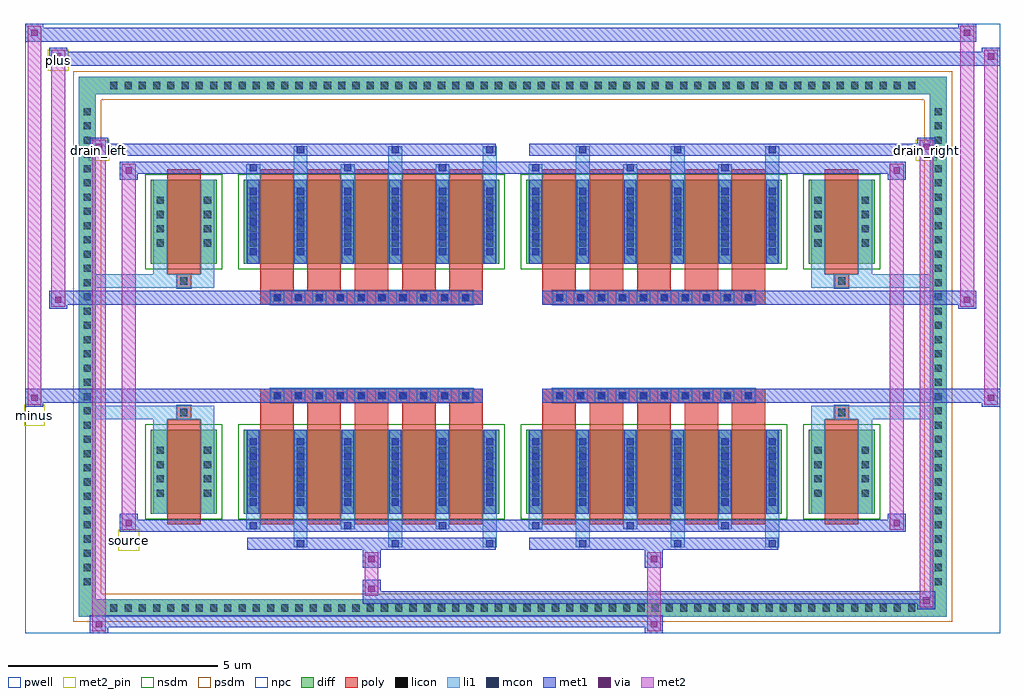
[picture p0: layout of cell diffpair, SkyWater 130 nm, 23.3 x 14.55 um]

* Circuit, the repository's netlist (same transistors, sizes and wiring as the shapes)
* NGSPICE file created from diffpair.ext - technology: sky130A

.subckt diffpair minus drain_right drain_left source plus
X0 source minus drain_right a_n2072_n1288# sky130_fd_pr__nfet_01v8 ad=0.33 pd=2.33 as=0.33 ps=2.33 w=2 l=0.8
X1 a_n2072_n1288# a_n2072_n1288# a_n2072_n1288# a_n2072_n1288# sky130_fd_pr__nfet_01v8 ad=0.78 pd=4.78 as=6.24 ps=38.24 w=2 l=0.8
X2 source minus drain_right a_n2072_n1288# sky130_fd_pr__nfet_01v8 ad=0.33 pd=2.33 as=0.33 ps=2.33 w=2 l=0.8
X3 source plus drain_left a_n2072_n1288# sky130_fd_pr__nfet_01v8 ad=0.33 pd=2.33 as=0.33 ps=2.33 w=2 l=0.8
X4 source plus drain_left a_n2072_n1288# sky130_fd_pr__nfet_01v8 ad=0.33 pd=2.33 as=0.33 ps=2.33 w=2 l=0.8
X5 a_n2072_n1288# a_n2072_n1288# a_n2072_n1288# a_n2072_n1288# sky130_fd_pr__nfet_01v8 ad=0.78 pd=4.78 as=0 ps=0 w=2 l=0.8
X6 a_n2072_n1288# a_n2072_n1288# a_n2072_n1288# a_n2072_n1288# sky130_fd_pr__nfet_01v8 ad=0.78 pd=4.78 as=0 ps=0 w=2 l=0.8
X7 drain_right minus source a_n2072_n1288# sky130_fd_pr__nfet_01v8 ad=0.33 pd=2.33 as=0.33 ps=2.33 w=2 l=0.8
X8 source minus drain_right a_n2072_n1288# sky130_fd_pr__nfet_01v8 ad=0.33 pd=2.33 as=0.33 ps=2.33 w=2 l=0.8
X9 drain_right minus source a_n2072_n1288# sky130_fd_pr__nfet_01v8 ad=0.33 pd=2.33 as=0.78 ps=4.78 w=2 l=0.8
X10 drain_right minus source a_n2072_n1288# sky130_fd_pr__nfet_01v8 ad=0.33 pd=2.33 as=0.78 ps=4.78 w=2 l=0.8
X11 drain_left plus source a_n2072_n1288# sky130_fd_pr__nfet_01v8 ad=0.78 pd=4.78 as=0.33 ps=2.33 w=2 l=0.8
X12 source minus drain_right a_n2072_n1288# sky130_fd_pr__nfet_01v8 ad=0.33 pd=2.33 as=0.33 ps=2.33 w=2 l=0.8
X13 drain_right minus source a_n2072_n1288# sky130_fd_pr__nfet_01v8 ad=0.78 pd=4.78 as=0.33 ps=2.33 w=2 l=0.8
X14 a_n2072_n1288# a_n2072_n1288# a_n2072_n1288# a_n2072_n1288# sky130_fd_pr__nfet_01v8 ad=0.78 pd=4.78 as=0 ps=0 w=2 l=0.8
X15 source plus drain_left a_n2072_n1288# sky130_fd_pr__nfet_01v8 ad=0.33 pd=2.33 as=0.33 ps=2.33 w=2 l=0.8
X16 drain_right minus source a_n2072_n1288# sky130_fd_pr__nfet_01v8 ad=0.78 pd=4.78 as=0.33 ps=2.33 w=2 l=0.8
X17 drain_left plus source a_n2072_n1288# sky130_fd_pr__nfet_01v8 ad=0.33 pd=2.33 as=0.33 ps=2.33 w=2 l=0.8
X18 drain_right minus source a_n2072_n1288# sky130_fd_pr__nfet_01v8 ad=0.33 pd=2.33 as=0.33 ps=2.33 w=2 l=0.8
X19 drain_left plus source a_n2072_n1288# sky130_fd_pr__nfet_01v8 ad=0.33 pd=2.33 as=0.78 ps=4.78 w=2 l=0.8
X20 source plus drain_left a_n2072_n1288# sky130_fd_pr__nfet_01v8 ad=0.33 pd=2.33 as=0.33 ps=2.33 w=2 l=0.8
X21 drain_left plus source a_n2072_n1288# sky130_fd_pr__nfet_01v8 ad=0.33 pd=2.33 as=0.78 ps=4.78 w=2 l=0.8
X22 drain_left plus source a_n2072_n1288# sky130_fd_pr__nfet_01v8 ad=0.78 pd=4.78 as=0.33 ps=2.33 w=2 l=0.8
X23 drain_left plus source a_n2072_n1288# sky130_fd_pr__nfet_01v8 ad=0.33 pd=2.33 as=0.33 ps=2.33 w=2 l=0.8
.ends

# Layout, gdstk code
import gdstk
lib = gdstk.Library(unit=1e-6, precision=5e-09)
def R(c, l, rs):  # rectangles x0, y0, x1, y1
    for r in rs: c.add(gdstk.rectangle(r[:2], r[2:], *l))
def A(c, l, x, y, w, h, nx, ny, dx, dy):  # array of equal rectangles
    R(c, l, [(x+i*dx, y+j*dy, x+i*dx+w, y+j*dy+h) for i in range(nx) for j in range(ny)])
def P(c, l, *ps):  # polygons
    for p in ps: c.add(gdstk.Polygon(p, *l))
pwell = (64, 44)
diff = (65, 20)
poly = (66, 20)
licon = (66, 44)
li1 = (67, 20)
mcon = (67, 44)
met1 = (68, 20)
via = (68, 44)
met2_pin = (69, 16)
met2 = (69, 20)
nsdm = (93, 44)
psdm = (94, 20)
npc = (95, 20)

diffpair = lib.new_cell('diffpair')
R(diffpair, pwell, [(-11.63,-6.84,11.63,7.71), (-8.95,-5.03,-0.01,-0.805), (0.01,-5.03,8.95,-0.805), (-8.95,0.805,-0.01,5.03), (0.01,0.805,8.95,5.03)])
A(diffpair, diff, -9.725, -6.44, 0.41, 0.41, 57, 2, 0.34, 12.47)
A(diffpair, diff, -10.36, -5.815, 0.41, 0.41, 1, 34, 0, 0.34)
A(diffpair, diff, 9.95, -5.815, 0.41, 0.41, 1, 34, 0, 0.34)
R(diffpair, diff, [(-9.725,-6.44,9.725,-6.03), (-10.36,-5.815,-9.95,5.815), (9.95,-5.815,10.36,5.815), (-8.64,-3.985,-7.06,-1.985), (-6.42,-3.985,-0.32,-1.985), (0.32,-3.985,6.42,-1.985), (7.06,-3.985,8.64,-1.985), (-8.64,1.985,-7.06,3.985), (-6.42,1.985,-0.32,3.985), (0.32,1.985,6.42,3.985), (7.06,1.985,8.64,3.985), (-9.725,6.03,9.725,6.44)])
P(diffpair, diff, [(10.36,6.44),(-10.36,6.44),(-10.36,-6.03),(-9.95,-6.03),(-9.95,6.03),(9.95,6.03),(9.95,-6.03),(-9.95,-6.03),(-10.36,-6.03),(-10.36,-6.44),(10.36,-6.44)])
A(diffpair, poly, -6.03, -4.235, 0.8, 2.5, 5, 2, 1.13, 5.97)
A(diffpair, poly, 0.71, -4.235, 0.8, 2.5, 5, 2, 1.13, 5.97)
A(diffpair, poly, -6.03, -1.735, 0.8, 0.4, 5, 2, 1.13, 3.07)
A(diffpair, poly, 0.71, -1.735, 0.8, 0.4, 5, 2, 1.13, 3.07)
A(diffpair, poly, -5.785, -1.335, 0.33, 0.33, 10, 2, 0.5, 2.34)
A(diffpair, poly, 0.955, -1.335, 0.33, 0.33, 10, 2, 0.5, 2.34)
R(diffpair, poly, [(-8.25,-4.235,-7.45,-1.735), (7.45,-4.235,8.25,-1.735), (-8.015,-1.735,-7.685,-1.405), (-8.015,-1.735,-7.685,-1.405), (7.685,-1.735,8.015,-1.405), (7.685,-1.735,8.015,-1.405), (-6.03,-1.335,-0.71,-1.005), (0.71,-1.335,6.03,-1.005), (-6.03,1.005,-0.71,1.335), (0.71,1.005,6.03,1.335), (-8.015,1.405,-7.685,1.735), (-8.015,1.405,-7.685,1.735), (7.685,1.405,8.015,1.735), (7.685,1.405,8.015,1.735), (-8.25,1.735,-7.45,4.235), (7.45,1.735,8.25,4.235)])
A(diffpair, licon, -9.605, -6.32, 0.17, 0.17, 57, 2, 0.34, 12.47)
A(diffpair, licon, -10.24, -5.695, 0.17, 0.17, 1, 34, 0, 0.34)
A(diffpair, licon, 10.07, -5.695, 0.17, 0.17, 1, 34, 0, 0.34)
A(diffpair, licon, -8.5, -3.58, 0.17, 0.17, 1, 4, 0, 0.34)
A(diffpair, licon, -7.37, -3.58, 0.17, 0.17, 1, 4, 0, 0.34)
A(diffpair, licon, -6.28, -3.58, 0.17, 0.17, 6, 4, 1.13, 0.34)
A(diffpair, licon, 0.46, -3.58, 0.17, 0.17, 6, 4, 1.13, 0.34)
A(diffpair, licon, 7.2, -3.58, 0.17, 0.17, 1, 4, 0, 0.34)
A(diffpair, licon, 8.33, -3.58, 0.17, 0.17, 1, 4, 0, 0.34)
A(diffpair, licon, -5.705, -1.255, 0.17, 0.17, 10, 2, 0.5, 2.34)
A(diffpair, licon, 1.035, -1.255, 0.17, 0.17, 10, 2, 0.5, 2.34)
A(diffpair, licon, -8.5, 2.39, 0.17, 0.17, 1, 4, 0, 0.34)
A(diffpair, licon, -7.37, 2.39, 0.17, 0.17, 1, 4, 0, 0.34)
A(diffpair, licon, -6.28, 2.39, 0.17, 0.17, 6, 4, 1.13, 0.34)
A(diffpair, licon, 0.46, 2.39, 0.17, 0.17, 6, 4, 1.13, 0.34)
A(diffpair, licon, 7.2, 2.39, 0.17, 0.17, 1, 4, 0, 0.34)
A(diffpair, licon, 8.33, 2.39, 0.17, 0.17, 1, 4, 0, 0.34)
R(diffpair, licon, [(-7.935,-1.655,-7.765,-1.485), (7.765,-1.655,7.935,-1.485), (-7.935,1.485,-7.765,1.655), (7.765,1.485,7.935,1.655)])
A(diffpair, li1, -9.685, -6.4, 0.33, 0.33, 57, 2, 0.34, 12.47)
A(diffpair, li1, -10.32, -5.775, 0.33, 0.33, 1, 34, 0, 0.34)
A(diffpair, li1, 9.99, -5.775, 0.33, 0.33, 1, 34, 0, 0.34)
A(diffpair, li1, -5.23, -4.79, 0.33, 0.805, 3, 2, 2.26, 8.775)
A(diffpair, li1, -5.15, -4.79, 0.17, 0.17, 3, 2, 2.26, 9.41)
A(diffpair, li1, 1.51, -4.79, 0.33, 0.805, 3, 2, 2.26, 8.775)
A(diffpair, li1, 1.59, -4.79, 0.17, 0.17, 3, 2, 2.26, 9.41)
A(diffpair, li1, -6.36, -4.36, 0.33, 0.375, 3, 2, 2.26, 8.345)
A(diffpair, li1, -6.28, -4.36, 0.17, 0.17, 3, 2, 2.26, 8.55)
A(diffpair, li1, 0.38, -4.36, 0.33, 0.375, 3, 2, 2.26, 8.345)
A(diffpair, li1, 0.46, -4.36, 0.17, 0.17, 3, 2, 2.26, 8.55)
A(diffpair, li1, -6.36, -3.985, 0.33, 2, 6, 2, 1.13, 5.97)
A(diffpair, li1, 0.38, -3.985, 0.33, 2, 6, 2, 1.13, 5.97)
A(diffpair, li1, -6.28, -3.79, 0.17, 0.17, 6, 5, 1.13, 0.36)
A(diffpair, li1, -6.28, -3.79, 0.17, 1.61, 6, 2, 1.13, 5.97)
A(diffpair, li1, 0.46, -3.79, 0.17, 0.17, 6, 5, 1.13, 0.36)
A(diffpair, li1, 0.46, -3.79, 0.17, 1.61, 6, 2, 1.13, 5.97)
A(diffpair, li1, -8.58, -3.66, 0.33, 0.33, 1, 4, 0, 0.34)
A(diffpair, li1, -7.45, -3.66, 0.33, 0.33, 1, 4, 0, 0.34)
A(diffpair, li1, -6.36, -3.66, 0.33, 0.33, 6, 4, 1.13, 0.34)
A(diffpair, li1, 0.38, -3.66, 0.33, 0.33, 6, 4, 1.13, 0.34)
A(diffpair, li1, 7.12, -3.66, 0.33, 0.33, 1, 4, 0, 0.34)
A(diffpair, li1, 8.25, -3.66, 0.33, 0.33, 1, 4, 0, 0.34)
A(diffpair, li1, -5.785, -1.335, 0.33, 0.33, 10, 2, 0.5, 2.34)
A(diffpair, li1, 0.955, -1.335, 0.33, 0.33, 10, 2, 0.5, 2.34)
A(diffpair, li1, -6.28, 2.18, 0.17, 0.17, 6, 5, 1.13, 0.36)
A(diffpair, li1, 0.46, 2.18, 0.17, 0.17, 6, 5, 1.13, 0.36)
A(diffpair, li1, -8.58, 2.31, 0.33, 0.33, 1, 4, 0, 0.34)
A(diffpair, li1, -7.45, 2.31, 0.33, 0.33, 1, 4, 0, 0.34)
A(diffpair, li1, -6.36, 2.31, 0.33, 0.33, 6, 4, 1.13, 0.34)
A(diffpair, li1, 0.38, 2.31, 0.33, 0.33, 6, 4, 1.13, 0.34)
A(diffpair, li1, 7.12, 2.31, 0.33, 0.33, 1, 4, 0, 0.34)
A(diffpair, li1, 8.25, 2.31, 0.33, 0.33, 1, 4, 0, 0.34)
R(diffpair, li1, [(-10.36,-6.44,-9.95,-6.03), (-10.36,-6.44,-9.95,-6.03), (-9.95,-6.44,9.95,-6.03), (9.95,-6.44,10.36,-6.03), (9.95,-6.44,10.36,-6.03), (-10.36,-6.03,-9.95,6.03), (9.95,-6.03,10.36,6.03), (-8.58,-3.985,-8.25,-1.985), (-7.45,-3.985,-7.12,-1.985), (7.12,-3.985,7.45,-1.985), (8.25,-3.985,8.58,-1.985), (-8.58,-1.985,-8.25,-1.405), (-7.45,-1.985,-7.12,-1.405), (7.12,-1.985,7.45,-1.405), (8.25,-1.985,8.58,-1.405), (-10.36,-1.735,-8.015,-1.405), (-8.58,-1.735,-8.015,-1.405), (-8.015,-1.735,-7.685,-1.405), (-7.685,-1.735,-7.12,-1.405), (7.12,-1.735,7.685,-1.405), (7.685,-1.735,8.015,-1.405), (7.685,-1.735,10.36,-1.405), (8.015,-1.735,8.58,-1.405), (-10.36,1.405,-8.015,1.735), (-8.58,1.405,-8.015,1.735), (-8.58,1.405,-8.25,1.985), (-8.015,1.405,-7.685,1.735), (-7.685,1.405,-7.12,1.735), (-7.45,1.405,-7.12,1.985), (7.12,1.405,7.685,1.735), (7.12,1.405,7.45,1.985), (7.685,1.405,8.015,1.735), (7.685,1.405,10.36,1.735), (8.015,1.405,8.58,1.735), (8.25,1.405,8.58,1.985), (-8.58,1.985,-8.25,3.985), (-7.45,1.985,-7.12,3.985), (7.12,1.985,7.45,3.985), (8.25,1.985,8.58,3.985), (-10.36,6.03,-9.95,6.44), (-10.36,6.03,-9.95,6.44), (-9.95,6.03,9.95,6.44), (9.95,6.03,10.36,6.44), (9.95,6.03,10.36,6.44)])
A(diffpair, mcon, -5.15, -4.79, 0.17, 0.17, 3, 2, 2.26, 9.41)
A(diffpair, mcon, 1.59, -4.79, 0.17, 0.17, 3, 2, 2.26, 9.41)
A(diffpair, mcon, -6.28, -4.36, 0.17, 0.17, 3, 2, 2.26, 8.55)
A(diffpair, mcon, 0.46, -4.36, 0.17, 0.17, 3, 2, 2.26, 8.55)
A(diffpair, mcon, -6.28, -3.79, 0.17, 0.17, 6, 5, 1.13, 0.36)
A(diffpair, mcon, 0.46, -3.79, 0.17, 0.17, 6, 5, 1.13, 0.36)
A(diffpair, mcon, -5.705, -1.255, 0.17, 0.17, 10, 2, 0.5, 2.34)
A(diffpair, mcon, 1.035, -1.255, 0.17, 0.17, 10, 2, 0.5, 2.34)
A(diffpair, mcon, -6.28, 2.18, 0.17, 0.17, 6, 5, 1.13, 0.36)
A(diffpair, mcon, 0.46, 2.18, 0.17, 0.17, 6, 5, 1.13, 0.36)
A(diffpair, met1, -5.21, -4.85, 0.29, 0.29, 3, 2, 2.26, 9.41)
A(diffpair, met1, 1.53, -4.85, 0.29, 0.29, 3, 2, 2.26, 9.41)
A(diffpair, met1, -6.34, -4.42, 0.29, 0.29, 3, 2, 2.26, 8.55)
A(diffpair, met1, 0.4, -4.42, 0.29, 0.29, 3, 2, 2.26, 8.55)
A(diffpair, met1, -6.34, -3.985, 0.29, 2, 6, 2, 1.13, 5.97)
A(diffpair, met1, 0.4, -3.985, 0.29, 2, 6, 2, 1.13, 5.97)
A(diffpair, met1, -6.34, -3.85, 0.29, 0.29, 6, 5, 1.13, 0.36)
A(diffpair, met1, 0.4, -3.85, 0.29, 0.29, 6, 5, 1.13, 0.36)
A(diffpair, met1, -5.765, -1.315, 0.29, 0.29, 10, 2, 0.5, 2.34)
A(diffpair, met1, 0.975, -1.315, 0.29, 0.29, 10, 2, 0.5, 2.34)
A(diffpair, met1, -6.34, 2.12, 0.29, 0.29, 6, 5, 1.13, 0.36)
A(diffpair, met1, 0.4, 2.12, 0.29, 0.29, 6, 5, 1.13, 0.36)
R(diffpair, met1, [(-10.09,-6.84,-9.66,-6.41), (3.155,-6.84,3.585,-6.41), (-10.09,-6.7,3.585,-6.41), (9.66,-6.27,10.09,-5.84), (-3.585,-6.13,10.09,-5.84), (-3.585,-5.99,-3.155,-5.56), (-3.585,-5.28,-3.155,-4.85), (3.155,-5.28,3.585,-4.85), (-6.34,-4.85,-0.4,-4.56), (0.4,-4.85,6.34,-4.56), (-9.38,-4.42,-8.95,-3.99), (-9.38,-4.42,-6.34,-4.13), (-6.34,-4.42,-0.4,-4.13), (-0.4,-4.42,0.4,-4.13), (0.4,-4.42,6.34,-4.13), (6.34,-4.42,9.38,-4.13), (8.95,-4.42,9.38,-3.99), (-11.63,-1.435,-11.2,-1.005), (11.2,-1.435,11.63,-1.005), (-11.63,-1.335,-0.71,-1.005), (-6.03,-1.335,-0.71,-1.005), (0.71,-1.335,6.03,-1.005), (0.71,-1.335,11.63,-1.005), (-11.06,0.905,-10.63,1.335), (10.63,0.905,11.06,1.335), (-11.06,1.005,-6.03,1.335), (-6.03,1.005,-0.71,1.335), (0.71,1.005,6.03,1.335), (6.03,1.005,11.06,1.335), (-9.38,3.99,-8.95,4.42), (8.95,3.99,9.38,4.42), (-9.38,4.13,-6.34,4.42), (-6.34,4.13,-0.4,4.42), (-0.4,4.13,0.4,4.42), (0.4,4.13,6.34,4.42), (6.34,4.13,9.38,4.42), (-10.09,4.56,-9.66,4.99), (-10.09,4.56,-6.34,4.85), (-6.34,4.56,-0.4,4.85), (0.4,4.56,6.34,4.85), (6.34,4.56,10.09,4.85), (9.66,4.56,10.09,4.99), (-11.06,6.71,-10.63,7.14), (-11.06,6.71,-8.95,7.04), (-8.95,6.71,8.95,7.04), (8.95,6.71,11.63,7.04), (11.2,6.71,11.63,7.14), (-11.63,7.28,-11.2,7.71), (-11.63,7.28,-8.95,7.61), (-8.95,7.28,8.95,7.61), (8.95,7.28,11.06,7.61), (10.63,7.28,11.06,7.71)])
R(diffpair, via, [(-9.95,-6.7,-9.8,-6.55), (3.295,-6.7,3.445,-6.55), (9.8,-6.13,9.95,-5.98), (-3.445,-5.85,-3.295,-5.7), (-3.445,-5.14,-3.295,-4.99), (3.295,-5.14,3.445,-4.99), (-9.24,-4.28,-9.09,-4.13), (9.09,-4.28,9.24,-4.13), (-11.49,-1.295,-11.34,-1.145), (11.34,-1.295,11.49,-1.145), (-10.92,1.045,-10.77,1.195), (10.77,1.045,10.92,1.195), (-9.24,4.13,-9.09,4.28), (9.09,4.13,9.24,4.28), (-9.95,4.7,-9.8,4.85), (9.8,4.7,9.95,4.85), (-10.92,6.85,-10.77,7), (11.34,6.85,11.49,7), (-11.49,7.42,-11.34,7.57), (10.77,7.42,10.92,7.57)])
R(diffpair, met2_pin, [(-9.415,-4.87,-8.915,-4.37), (-11.665,-1.885,-11.165,-1.385), (-10.125,4.44,-9.625,4.94), (9.625,4.44,10.125,4.94), (-11.095,6.59,-10.595,7.09)])
R(diffpair, met2, [(-10.04,-6.79,-9.71,-6.46), (-10.04,-6.79,-9.71,4.94), (3.205,-6.79,3.535,-6.46), (3.205,-6.46,3.535,-5.23), (9.71,-6.22,10.04,-5.89), (9.71,-6.22,10.04,4.94), (-3.535,-5.94,-3.205,-5.61), (-3.535,-5.61,-3.205,-5.23), (-3.535,-5.23,-3.205,-4.9), (3.205,-5.23,3.535,-4.9), (-9.33,-4.37,-9,-4.04), (-9.33,-4.37,-9,4.37), (9,-4.37,9.33,-4.04), (9,-4.37,9.33,4.37), (-11.58,-1.385,-11.25,-1.055), (-11.58,-1.385,-11.25,7.66), (11.25,-1.385,11.58,-1.055), (11.25,-1.385,11.58,7.09), (-11.01,0.955,-10.68,1.285), (-11.01,0.955,-10.68,7.09), (10.68,0.955,11.01,1.285), (10.68,0.955,11.01,7.66), (-9.33,4.04,-9,4.37), (9,4.04,9.33,4.37), (-10.04,4.61,-9.71,4.94), (9.71,4.61,10.04,4.94), (-11.01,6.76,-10.68,7.09), (11.25,6.76,11.58,7.09), (-11.58,7.33,-11.25,7.66), (10.68,7.33,11.01,7.66)])
P(diffpair, met2, [(11.58,-1.385),(11.58,-1.385),(11.58,-1.055),(11.58,-1.055)],
  [(11.58,6.76),(11.58,6.76),(11.58,7.09),(11.58,7.09)],
  [(-11.25,-1.385),(-11.25,-1.385),(-11.25,-1.055),(-11.25,-1.055)],
  [(-11.25,7.33),(-11.25,7.33),(-11.25,7.66),(-11.25,7.66)],
  [(11.01,0.955),(11.01,0.955),(11.01,1.285),(11.01,1.285)],
  [(11.01,7.33),(11.01,7.33),(11.01,7.66),(11.01,7.66)],
  [(-10.68,0.955),(-10.68,0.955),(-10.68,1.285),(-10.68,1.285)],
  [(-10.68,6.76),(-10.68,6.76),(-10.68,7.09),(-10.68,7.09)],
  [(-9.71,-6.79),(-9.71,-6.79),(-9.71,-6.46),(-9.71,-6.46)],
  [(-9.71,4.61),(-9.71,4.61),(-9.71,4.94),(-9.71,4.94)],
  [(10.04,-6.22),(10.04,-6.22),(10.04,-5.89),(10.04,-5.89)],
  [(10.04,4.61),(10.04,4.61),(10.04,4.94),(10.04,4.94)],
  [(-9,-4.37),(-9,-4.37),(-9,-4.04),(-9,-4.04)],
  [(-9,4.04),(-9,4.04),(-9,4.37),(-9,4.37)],
  [(9.33,-4.37),(9.33,-4.37),(9.33,-4.04),(9.33,-4.04)],
  [(9.33,4.04),(9.33,4.04),(9.33,4.37),(9.33,4.37)])
R(diffpair, nsdm, [(-8.77,-4.115,-6.93,-1.855), (-6.55,-4.115,-0.19,-1.855), (0.19,-4.115,6.55,-1.855), (6.93,-4.115,8.77,-1.855), (-8.77,1.855,-6.93,4.115), (-6.55,1.855,-0.19,4.115), (0.19,1.855,6.55,4.115), (6.93,1.855,8.77,4.115)])
P(diffpair, psdm, [(10.49,6.57),(-10.49,6.57),(-10.49,-5.9),(-9.82,-5.9),(-9.82,5.9),(9.82,5.9),(9.82,-5.9),(-9.82,-5.9),(-10.49,-5.9),(-10.49,-6.57),(10.49,-6.57)])
A(diffpair, npc, -5.805, -1.355, 0.37, 0.37, 10, 2, 0.5, 2.34)
A(diffpair, npc, 0.935, -1.355, 0.37, 0.37, 10, 2, 0.5, 2.34)
R(diffpair, npc, [(-8.035,-1.755,-7.665,-1.385), (7.665,-1.755,8.035,-1.385), (-5.805,-1.355,-4.935,-0.985), (-5.805,-1.355,-4.935,-0.985), (-5.305,-1.355,-4.435,-0.985), (-5.305,-1.355,-4.435,-0.985), (-4.805,-1.355,-3.935,-0.985), (-4.805,-1.355,-3.935,-0.985), (-4.305,-1.355,-3.435,-0.985), (-4.305,-1.355,-3.435,-0.985), (-3.805,-1.355,-2.935,-0.985), (-3.805,-1.355,-2.935,-0.985), (-3.305,-1.355,-2.435,-0.985), (-3.305,-1.355,-2.435,-0.985), (-2.805,-1.355,-1.935,-0.985), (-2.805,-1.355,-1.935,-0.985), (-2.305,-1.355,-1.435,-0.985), (-2.305,-1.355,-1.435,-0.985), (-1.805,-1.355,-0.935,-0.985), (-1.805,-1.355,-0.935,-0.985), (0.935,-1.355,1.805,-0.985), (0.935,-1.355,1.805,-0.985), (1.435,-1.355,2.305,-0.985), (1.435,-1.355,2.305,-0.985), (1.935,-1.355,2.805,-0.985), (1.935,-1.355,2.805,-0.985), (2.435,-1.355,3.305,-0.985), (2.435,-1.355,3.305,-0.985), (2.935,-1.355,3.805,-0.985), (2.935,-1.355,3.805,-0.985), (3.435,-1.355,4.305,-0.985), (3.435,-1.355,4.305,-0.985), (3.935,-1.355,4.805,-0.985), (3.935,-1.355,4.805,-0.985), (4.435,-1.355,5.305,-0.985), (4.435,-1.355,5.305,-0.985), (4.935,-1.355,5.805,-0.985), (4.935,-1.355,5.805,-0.985), (-5.805,0.985,-4.935,1.355), (-5.805,0.985,-4.935,1.355), (-5.305,0.985,-4.435,1.355), (-5.305,0.985,-4.435,1.355), (-4.805,0.985,-3.935,1.355), (-4.805,0.985,-3.935,1.355), (-4.305,0.985,-3.435,1.355), (-4.305,0.985,-3.435,1.355), (-3.805,0.985,-2.935,1.355), (-3.805,0.985,-2.935,1.355), (-3.305,0.985,-2.435,1.355), (-3.305,0.985,-2.435,1.355), (-2.805,0.985,-1.935,1.355), (-2.805,0.985,-1.935,1.355), (-2.305,0.985,-1.435,1.355), (-2.305,0.985,-1.435,1.355), (-1.805,0.985,-0.935,1.355), (-1.805,0.985,-0.935,1.355), (0.935,0.985,1.805,1.355), (0.935,0.985,1.805,1.355), (1.435,0.985,2.305,1.355), (1.435,0.985,2.305,1.355), (1.935,0.985,2.805,1.355), (1.935,0.985,2.805,1.355), (2.435,0.985,3.305,1.355), (2.435,0.985,3.305,1.355), (2.935,0.985,3.805,1.355), (2.935,0.985,3.805,1.355), (3.435,0.985,4.305,1.355), (3.435,0.985,4.305,1.355), (3.935,0.985,4.805,1.355), (3.935,0.985,4.805,1.355), (4.435,0.985,5.305,1.355), (4.435,0.985,5.305,1.355), (4.935,0.985,5.805,1.355), (4.935,0.985,5.805,1.355), (-8.035,1.385,-7.665,1.755), (7.665,1.385,8.035,1.755)])
diffpair.add(gdstk.Label('minus', (-11.415,-1.635), layer=69, texttype=5))
diffpair.add(gdstk.Label('drain_right', (9.875,4.69), layer=69, texttype=5))
diffpair.add(gdstk.Label('drain_left', (-9.875,4.69), layer=69, texttype=5))
diffpair.add(gdstk.Label('source', (-9.165,-4.62), layer=69, texttype=5))
diffpair.add(gdstk.Label('plus', (-10.845,6.84), layer=69, texttype=5))

lib.write_gds('diffpair.gds')
